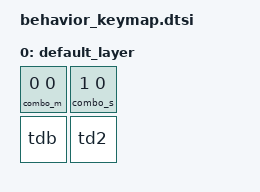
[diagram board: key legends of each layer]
#include <dt-bindings/zmk/keys.h>
#include <behaviors.dtsi>
#include <dt-bindings/zmk/kscan_mock.h>

/ {
    behaviors {
        ht: hold_tap {
            compatible = "zmk,behavior-hold-tap";
            #binding-cells = <2>;
            tapping-term-ms = <200>;
            quick-tap-ms = <0>;
            flavor = "tap-preferred";
            bindings = <&kp>, <&kp>;
        };

        tdm: tap_dance_mixed {
            compatible = "zmk,behavior-tap-dance";
            #binding-cells = <0>;
            tapping-term-ms = <200>;
            bindings = <&ht LSHIFT A>, <&ht LALT B>, <&ht LGUI C>;
        };

        tdb: tap_dance_basic {
            compatible = "zmk,behavior-tap-dance";
            #binding-cells = <0>;
            tapping-term-ms = <200>;
            bindings = <&kp N1>, <&kp N2>, <&kp N3>;
        };

        td2: tap_dance_basic_2 {
            compatible = "zmk,behavior-tap-dance";
            #binding-cells = <0>;
            tapping-term-ms = <200>;
            bindings = <&kp A>, <&kp B>, <&kp C>;
        };

        tds: tap_dance_single {
            compatible = "zmk,behavior-tap-dance";
            #binding-cells = <0>;
            tapping-term-ms = <200>;
            bindings = <&kp S>;
        };

        combo_m: combo_trigger_tap_dance_mixed {
            compatible = "zmk,behavior-combo-trigger";
            #binding-cells = <2>;
            display-name = "Combo or tap dance mixed";
            fallback-behavior = <&tdm>;
        };

        combo_s: combo_trigger_tap_dance_single {
            compatible = "zmk,behavior-combo-trigger";
            #binding-cells = <2>;
            display-name = "Combo or tap dance single";
            fallback-behavior = <&tds>;
        };
    };

    combos {
        compatible = "zmk,combos";

        td_combo {
            bindings = <&tdb>;
            triggers = <0 1>;
            timeout-ms = <50>;
        };
    };

    keymap {
        compatible = "zmk,keymap";

        default_layer {
            bindings = <
            &combo_m 0 0 &combo_s 1 0
            &tdb         &td2>;
        };
    };
};
